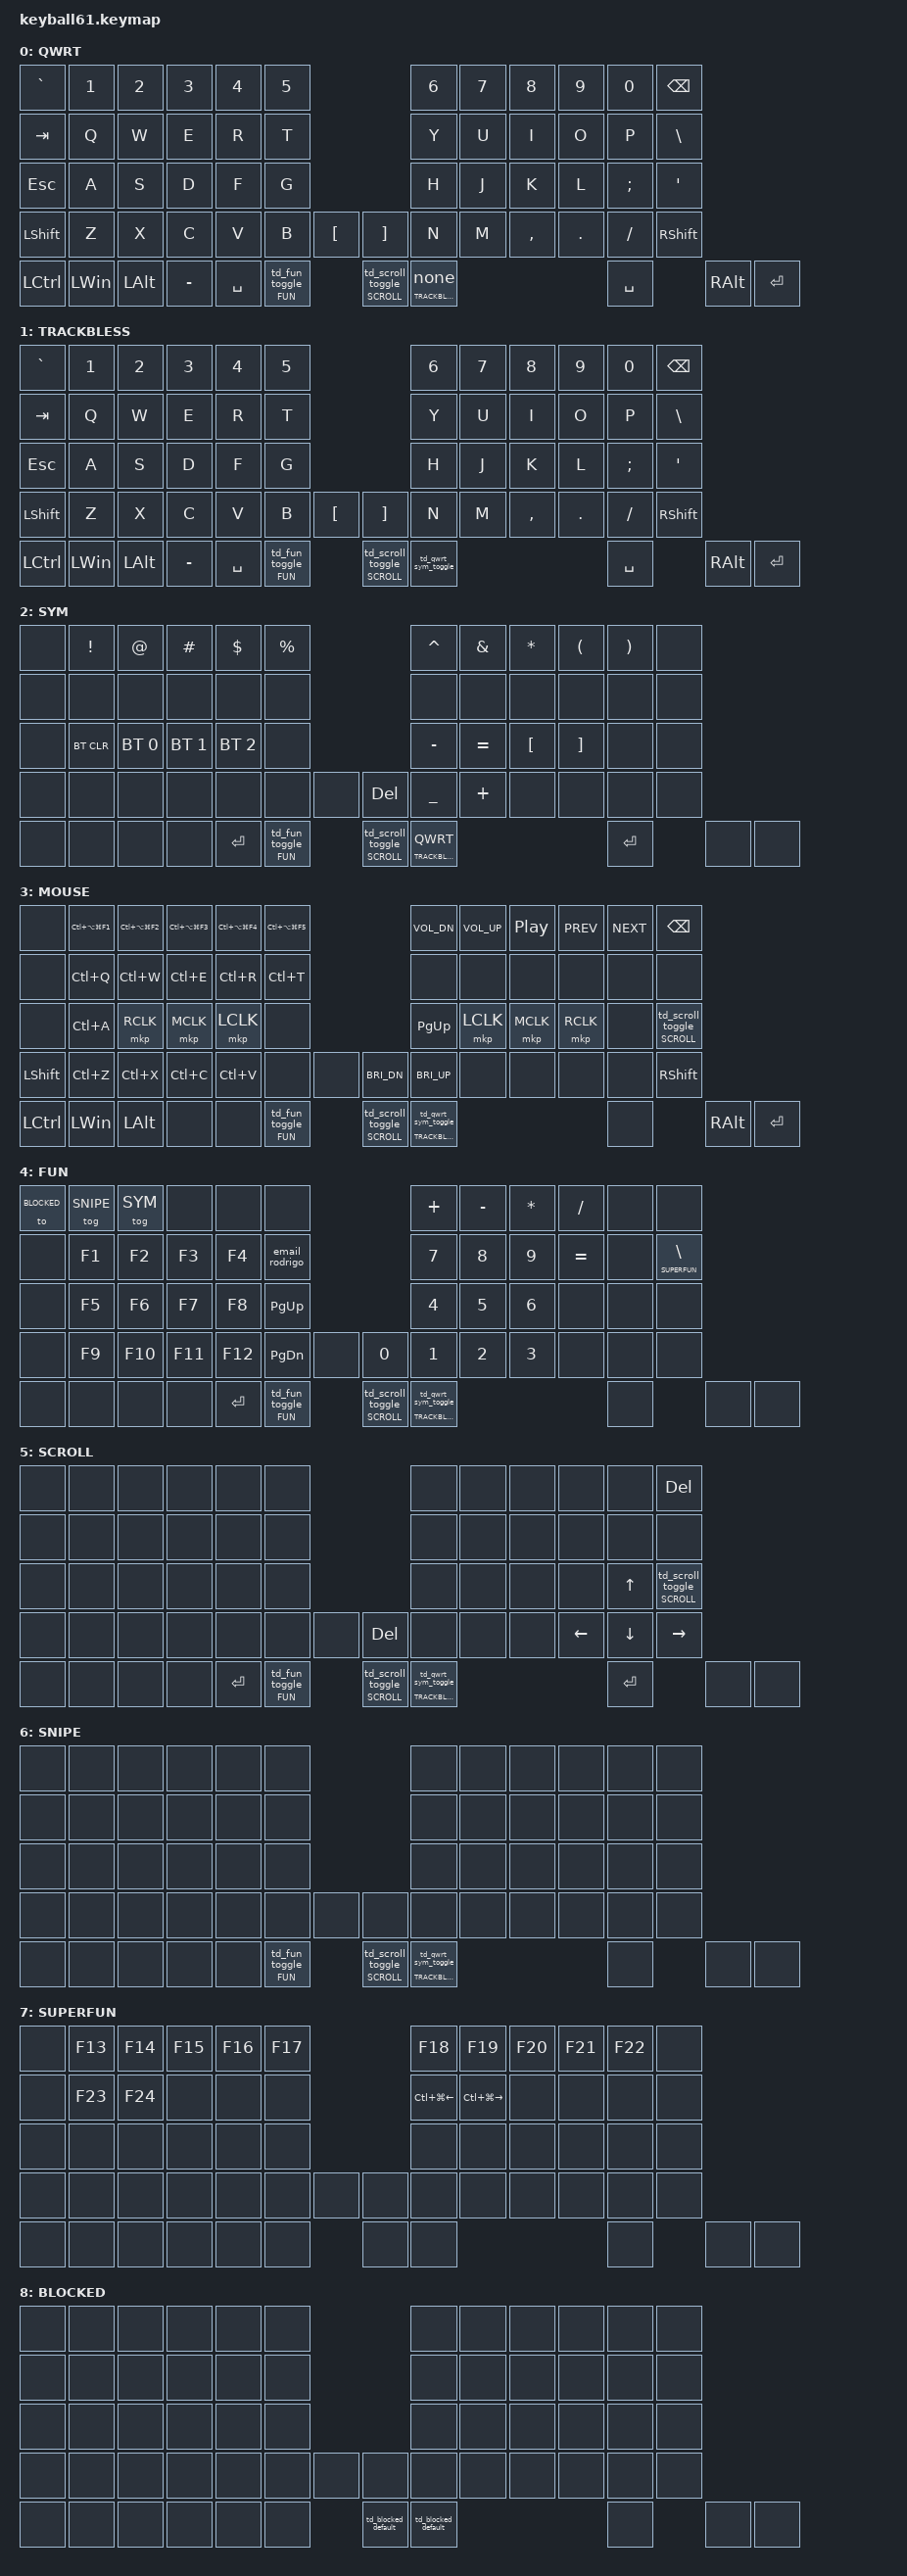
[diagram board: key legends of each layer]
#define QWRT       0
#define TRACKBLESS 1
#define SYM        2
#define MOUSE      3
#define FUN        4
#define SCROLL     5
#define SNIPE      6
#define SUPERFUN   7
#define BLOCKED    8

#include <behaviors/mouse_keys.dtsi>
#include <behaviors.dtsi>
#include <dt-bindings/zmk/bt.h>
#include <dt-bindings/zmk/keys.h>
#include <dt-bindings/zmk/mouse.h>

&lt {
    tapping-term-ms = <240>;
    flavor = "balanced";
    quick-tap-ms = <150>;
};

&mt {
    tapping-term-ms = <200>;
    flavor = "tap-preferred";
    quick-tap-ms = <150>;
};

/ {
    macros {
        email_rodrigo: email_rodrigo {
            compatible = "zmk,behavior-macro";
            #binding-cells = <0>;
            wait-ms = <40>;
            tap-ms = <40>;
            bindings = <
                &kp R &kp O &kp D &kp R &kp I &kp G &kp O
                &kp DOT
                &kp M
                &kp DOT
                &kp R &kp I &kp V &kp E &kp R &kp O
                &kp N1 &kp N3
                &kp AT_SIGN
                &kp G &kp M &kp A &kp I &kp L
                &kp DOT
                &kp C &kp O &kp M
            >;
        };
    };

    behaviors {
        td_qwrt_sym_toggle: td_qwrt_sym_toggle {
            compatible = "zmk,behavior-tap-dance";
            #binding-cells = <0>;
            tapping-term-ms = <350>;
            bindings = <&to QWRT>, <&tog SYM>;
        };

        td_sym_to_toggle: td_sym_to_toggle {
            compatible = "zmk,behavior-tap-dance";
            #binding-cells = <0>;
            tapping-term-ms = <350>;
            bindings = <&to SYM>, <&tog SYM>;
        };

        td_sym_toggle: td_sym_toggle {
            compatible = "zmk,behavior-tap-dance";
            #binding-cells = <0>;
            tapping-term-ms = <350>;
            bindings = <&none>, <&tog SYM>;
        };

        hold_sym_toggle: hold_sym_toggle {
            compatible = "zmk,behavior-hold-tap";
            #binding-cells = <2>;
            tapping-term-ms = <200>;
            flavor = "hold-preferred";
            bindings = <&mo>, <&td_sym_toggle>;
        };

        td_scroll_toggle: td_scroll_toggle {
            compatible = "zmk,behavior-tap-dance";
            #binding-cells = <0>;
            tapping-term-ms = <350>;
            bindings = <&none>, <&tog SCROLL>;
        };

        hold_scroll_toggle: hold_scroll_toggle {
            compatible = "zmk,behavior-hold-tap";
            #binding-cells = <2>;
            tapping-term-ms = <200>;
            flavor = "hold-preferred";
            bindings = <&mo>, <&td_scroll_toggle>;
        };

        td_fun_toggle: td_fun_toggle {
            compatible = "zmk,behavior-tap-dance";
            #binding-cells = <0>;
            tapping-term-ms = <350>;
            bindings = <&none>, <&tog FUN>;
        };

        hold_fun_toggle: hold_fun_toggle {
            compatible = "zmk,behavior-hold-tap";
            #binding-cells = <2>;
            tapping-term-ms = <200>;
            flavor = "hold-preferred";
            bindings = <&mo>, <&td_fun_toggle>;
        };

        td_blocked_default: td_blocked_default {
            compatible = "zmk,behavior-tap-dance";
            #binding-cells = <0>;
            tapping-term-ms = <350>;
            bindings = <&none>, <&to QWRT>;
        };

        ht_57_to_sym_hold_trackbless: ht_57_to_sym_hold_trackbless {
            compatible = "zmk,behavior-hold-tap";
            #binding-cells = <2>;
            tapping-term-ms = <200>;
            flavor = "hold-preferred";
            bindings = <&tog>, <&none>;
        };

        ht_57_qwrt_hold_trackbless: ht_57_qwrt_hold_trackbless {
            compatible = "zmk,behavior-hold-tap";
            #binding-cells = <2>;
            tapping-term-ms = <400>;
            flavor = "hold-preferred";
            bindings = <&tog>, <&td_qwrt_sym_toggle>;
        };

        ht_57_sym_hold_qwrt: ht_57_sym_hold_qwrt {
            compatible = "zmk,behavior-hold-tap";
            #binding-cells = <2>;
            tapping-term-ms = <200>;
            flavor = "hold-preferred";
            bindings = <&to>, <&td_sym_to_toggle>;
        };

        ht_57_to_qwrt_hold_trackbless: ht_57_to_qwrt_hold_trackbless {
            compatible = "zmk,behavior-hold-tap";
            #binding-cells = <2>;
            tapping-term-ms = <400>;
            flavor = "hold-preferred";
            bindings = <&tog>, <&to>;
        };
    };

    keymap {
        compatible = "zmk,keymap";

        qwrt_layer {
            label = "QWRT";
            bindings = <
&kp GRAVE       &kp N1        &kp N2        &kp N3        &kp N4  &kp N5                                   &kp N6           &kp N7  &kp N8     &kp N9   &kp N0         &kp BSPC
&kp TAB         &kp Q         &kp W         &kp E         &kp R   &kp T                                    &kp Y            &kp U   &kp I      &kp O    &kp P          &kp BACKSLASH
&kp ESC         &kp A         &kp S         &kp D         &kp F   &kp G                                    &kp H            &kp J   &kp K      &kp L    &kp SEMI       &kp SQT
&kp LEFT_SHIFT  &kp Z         &kp X         &kp C         &kp V   &kp B        &kp LEFT_BRACKET  &kp RIGHT_BRACKET  &kp N            &kp M   &kp COMMA  &kp DOT  &kp FSLH       &kp RIGHT_SHIFT
&kp LCTRL       &kp LEFT_WIN  &kp LEFT_ALT  &kp MINUS     &kp SPACE  &hold_fun_toggle FUN 0  &hold_scroll_toggle SCROLL 0  &ht_57_to_sym_hold_trackbless TRACKBLESS 0  &kp SPACE                  &kp RIGHT_ALT  &kp ENTER
            >;
        };

        trackbless_layer {
            label = "TRACKBLESS";
            bindings = <
&kp GRAVE       &kp N1        &kp N2        &kp N3        &kp N4  &kp N5                                   &kp N6           &kp N7  &kp N8     &kp N9   &kp N0         &kp BSPC
&kp TAB         &kp Q         &kp W         &kp E         &kp R   &kp T                                    &kp Y            &kp U   &kp I      &kp O    &kp P          &kp BACKSLASH
&kp ESC         &kp A         &kp S         &kp D         &kp F   &kp G                                    &kp H            &kp J   &kp K      &kp L    &kp SEMI       &kp SQT
&kp LEFT_SHIFT  &kp Z         &kp X         &kp C         &kp V   &kp B        &kp LEFT_BRACKET  &kp RIGHT_BRACKET  &kp N            &kp M   &kp COMMA  &kp DOT  &kp FSLH       &kp RIGHT_SHIFT
&kp LCTRL       &kp LEFT_WIN  &kp LEFT_ALT  &kp MINUS     &kp SPACE  &hold_fun_toggle FUN 0  &hold_scroll_toggle SCROLL 0  &td_qwrt_sym_toggle  &kp SPACE                  &kp RIGHT_ALT  &kp ENTER
            >;
        };

        symbol_layer {
            label = "SYM";
            bindings = <
&none  &kp EXCLAMATION  &kp AT_SIGN   &kp HASH      &kp DOLLAR    &kp PERCENT                  &kp CARET       &kp AMPERSAND  &kp ASTERISK      &kp LEFT_PARENTHESIS  &kp RIGHT_PARENTHESIS  &none
&none  &none            &none         &none         &none         &none                        &none           &none          &none             &none                 &none                  &none
&none  &bt BT_CLR       &bt BT_SEL 0  &bt BT_SEL 1  &bt BT_SEL 2  &none                        &kp MINUS       &kp EQUAL      &kp LEFT_BRACKET  &kp RIGHT_BRACKET     &none                  &none
&none  &none            &none         &none         &none         &none       &none  &kp DEL   &kp UNDERSCORE  &kp PLUS       &none             &none                 &none                  &none
&none  &none            &none         &none         &kp ENTER  &hold_fun_toggle FUN 0  &hold_scroll_toggle SCROLL 0  &ht_57_to_qwrt_hold_trackbless TRACKBLESS QWRT  &kp ENTER                                                            &none                  &none
            >;
        };

        mouse_layer {
            label = "MOUSE";
            bindings = <
&none  &kp LC(LA(LG(F1)))  &kp LC(LA(LG(F2)))  &kp LC(LA(LG(F3)))  &kp LC(LA(LG(F4)))  &kp LC(LA(LG(F5)))                  &kp C_VOL_DN   &kp C_VOL_UP  &kp C_PP   &kp C_PREV  &kp C_NEXT  &kp BSPC
&none   &kp LC(Q)      &kp LC(W)      &kp LC(E)   &kp LC(R)      &kp LC(T)                  &none  &none  &none      &none  &none  &none
&none   &kp LC(A)     &mkp RCLK  &mkp MCLK  &mkp LCLK  &none            &kp PAGE_UP    &mkp LCLK     &mkp MCLK  &mkp RCLK  &none  &hold_scroll_toggle SCROLL 0
&kp LEFT_SHIFT  &kp LC(Z)  &kp LC(X)  &kp LC(C)  &kp LC(V)  &none  &none  &kp C_BRI_DN  &kp C_BRI_UP  &none  &none  &none  &none  &kp RIGHT_SHIFT
&kp LCTRL  &kp LEFT_WIN  &kp LEFT_ALT  &none  &none  &hold_fun_toggle FUN 0  &hold_scroll_toggle SCROLL 0  &ht_57_qwrt_hold_trackbless TRACKBLESS 0  &none                  &kp RIGHT_ALT  &kp ENTER
            >;
        };

        function_layer {
            label = "FUN";
            bindings = <
&to BLOCKED  &tog SNIPE &tog SYM &none   &none   &none                  &kp PLUS  &kp MINUS  &kp ASTERISK  &kp FSLH  &none  &none
&none        &kp F1      &kp F2  &kp F3  &kp F4  &email_rodrigo         &kp N7    &kp N8     &kp N9        &kp EQUAL &none  &lt SUPERFUN BACKSLASH
&none        &kp F5      &kp F6  &kp F7  &kp F8  &kp PAGE_UP            &kp N4    &kp N5     &kp N6        &none     &none  &none
&none        &kp F9      &kp F10 &kp F11 &kp F12 &kp PAGE_DOWN  &none  &kp N0  &kp N1  &kp N2  &kp N3  &none  &none  &none
&none        &none       &none   &none   &kp ENTER  &hold_fun_toggle FUN 0  &hold_scroll_toggle SCROLL 0  &ht_57_qwrt_hold_trackbless TRACKBLESS 0  &none              &none  &none
            >;
        };

        scroll_layer {
            label = "SCROLL";
            bindings = <
&none  &none  &none  &none  &none  &none                  &none  &none  &none  &none  &none  &kp DEL
&none  &none  &none  &none  &none  &none                  &none  &none  &none  &none  &none  &none
&none  &none  &none  &none  &none  &none                  &none  &none  &none  &none  &kp UP  &hold_scroll_toggle SCROLL 0
&none  &none  &none  &none  &none  &none  &none  &kp DEL  &none  &none  &none  &kp LEFT  &kp DOWN  &kp RIGHT
&none  &none  &none  &none  &kp ENTER &hold_fun_toggle FUN 0 &hold_scroll_toggle SCROLL 0 &ht_57_qwrt_hold_trackbless TRACKBLESS 0  &kp ENTER              &none  &none
            >;
        };

        snipe_layer {
            label = "SNIPE";
            bindings = <
&none  &none  &none  &none  &none  &none                  &none  &none  &none  &none  &none  &none
&none  &none  &none  &none  &none  &none                  &none  &none  &none  &none  &none  &none
&none  &none  &none  &none  &none  &none                  &none  &none  &none  &none  &none  &none
&none  &none  &none  &none  &none  &none  &none  &none  &none  &none  &none  &none  &none  &none
&none  &none  &none  &none  &none  &hold_fun_toggle FUN 0  &hold_scroll_toggle SCROLL 0  &ht_57_qwrt_hold_trackbless TRACKBLESS 0  &none              &none  &none
            >;
        };

        superfun_layer {
            label = "SUPERFUN";
            bindings = <
&none  &kp F13  &kp F14  &kp F15  &kp F16  &kp F17                  &kp F18  &kp F19  &kp F20  &kp F21  &kp F22  &none
&none  &kp F23  &kp F24  &none    &none    &none                    &kp LC(LG(LEFT))    &kp LC(LG(RIGHT))    &none    &none    &none    &none
&none  &none    &none    &none    &none    &none                    &none    &none    &none    &none    &none    &none
&none  &none    &none    &none    &none    &none  &none  &none  &none  &none  &none  &none  &none  &none
&none  &none    &none    &none    &none    &none  &none  &none  &none                  &none  &none
            >;
        };

        blocked_layer {
            label = "BLOCKED";
            bindings = <
&none  &none  &none  &none  &none  &none                  &none  &none  &none  &none  &none  &none
&none  &none  &none  &none  &none  &none                  &none  &none  &none  &none  &none  &none
&none  &none  &none  &none  &none  &none                  &none  &none  &none  &none  &none  &none
&none  &none  &none  &none  &none  &none  &none  &none  &none  &none  &none  &none  &none  &none
&none  &none  &none  &none  &none  &none  &td_blocked_default  &td_blocked_default  &none              &none  &none
            >;
        };
    };
};
